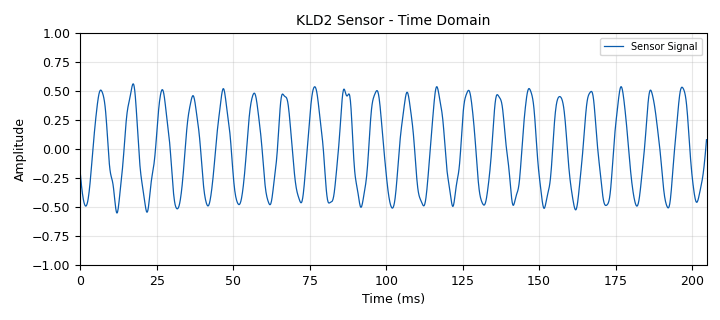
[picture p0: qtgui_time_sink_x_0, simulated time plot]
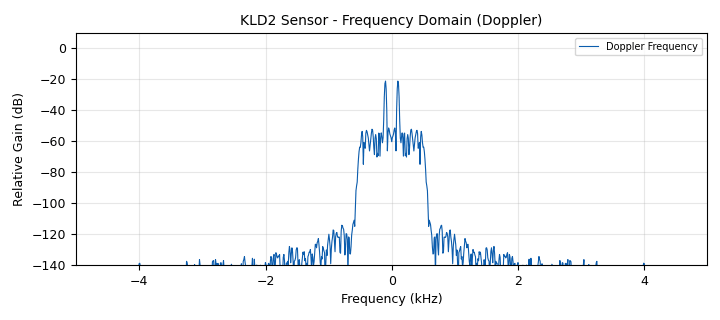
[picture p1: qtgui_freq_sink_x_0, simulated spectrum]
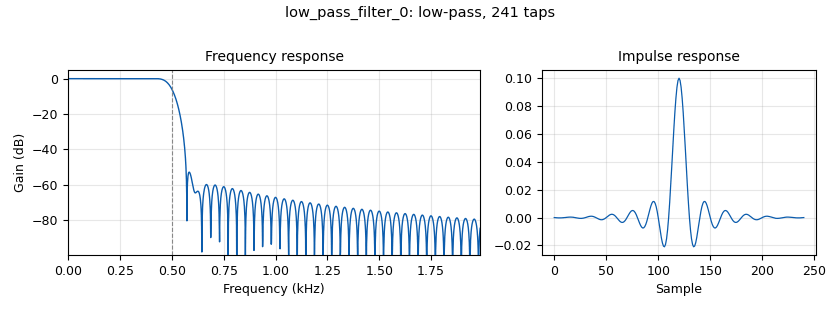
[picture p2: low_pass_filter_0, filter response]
options:
  parameters:
    author: PRGR Project
    description: KLD2 Doppler Radar Golf Swing Monitor
    generate_options: qt_gui
    id: kld2_monitor
    output_language: python
    title: KLD2 Golf Swing Monitor
  states: {}

blocks:
- name: samp_rate
  id: variable
  parameters:
    value: '10000'
  states: {}
- name: fft_size
  id: variable
  parameters:
    value: '1024'
  states: {}
- name: analog_sig_source_x_0
  id: analog_sig_source_x
  parameters:
    amp: '0.5'
    comment: |-
      Simulated Doppler signal
      (Replace with KLD2 sensor source)
    freq: '100'
    offset: '0'
    phase: '0'
    samp_rate: samp_rate
    type: float
    waveform: analog.GR_COS_WAVE
  states: {}
- name: analog_noise_source_x_0
  id: analog_noise_source_x
  parameters:
    amp: '0.1'
    comment: |-
      Simulated noise
      (sensor will have noise too)
    noise_type: analog.GR_GAUSSIAN
    seed: '0'
    type: float
  states: {}
- name: blocks_add_xx_0
  id: blocks_add_xx
  parameters:
    type: float
  states: {}
- name: blocks_throttle_0
  id: blocks_throttle
  parameters:
    samples_per_second: samp_rate
    type: float
  states: {}
- name: low_pass_filter_0
  id: low_pass_filter
  parameters:
    comment: |-
      Filter out high frequencies
      (golf swings are 0-200 Hz)
    cutoff_freq: '500'
    decim: '1'
    gain: '1'
    samp_rate: samp_rate
    type: fir_filter_fff
    width: '100'
    win: window.WIN_HAMMING
  states: {}
- name: qtgui_time_sink_x_0
  id: qtgui_time_sink_x
  parameters:
    ctrlpanel: 'True'
    grid: 'True'
    label1: Sensor Signal
    name: '"KLD2 Sensor - Time Domain"'
    size: '2048'
    srate: samp_rate
    type: float
  states: {}
- name: qtgui_freq_sink_x_0
  id: qtgui_freq_sink_x
  parameters:
    bw: samp_rate
    ctrlpanel: 'True'
    fc: '0'
    fftsize: fft_size
    grid: 'True'
    label1: Doppler Frequency
    name: '"KLD2 Sensor - Frequency Domain (Doppler)"'
    type: float
  states: {}
- name: blocks_file_sink_0
  id: blocks_file_sink
  parameters:
    comment: |-
      Record data to file
      for later analysis
    file: /tmp/kld2_sensor_data.bin
    type: float
  states: {}
- name: note_0
  id: note
  parameters:
    note: |-
      INSTRUCTIONS:
      1. Replace analog_sig_source with KLD2 sensor source block
      2. Adjust sample rate to match your ADC
      3. Calibrate threshold values for swing detection
      4. The time domain shows raw sensor signal
      5. The frequency domain shows Doppler shift (club speed)
  states: {}

connections:
- [analog_sig_source_x_0, '0', blocks_add_xx_0, '0']
- [analog_noise_source_x_0, '0', blocks_add_xx_0, '1']
- [blocks_add_xx_0, '0', blocks_throttle_0, '0']
- [blocks_throttle_0, '0', low_pass_filter_0, '0']
- [low_pass_filter_0, '0', qtgui_time_sink_x_0, '0']
- [low_pass_filter_0, '0', qtgui_freq_sink_x_0, '0']
- [low_pass_filter_0, '0', blocks_file_sink_0, '0']

metadata:
  file_format: 1
  grc_version: 3.10.5.1
